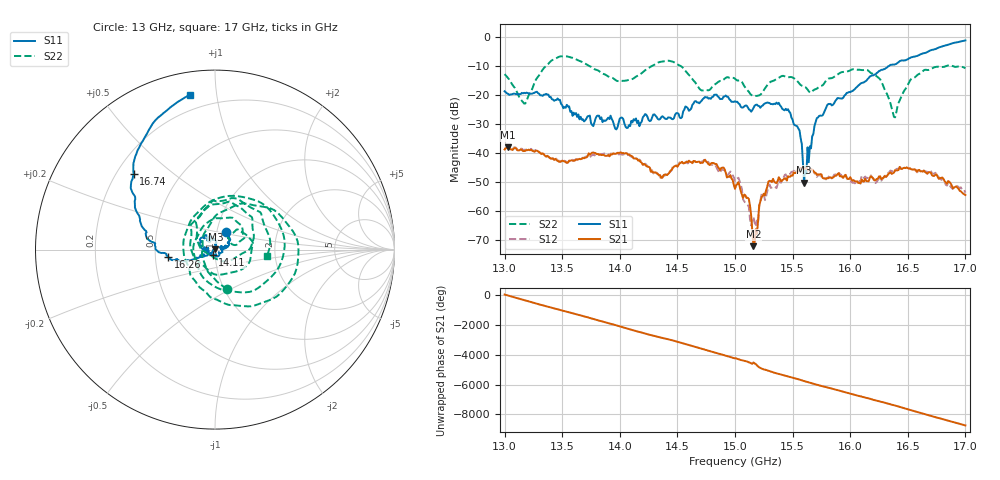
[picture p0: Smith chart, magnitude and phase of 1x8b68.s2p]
!Keysight Technologies,P9374A,MY57211807,A.19.30.04
!Date: Friday, May 08, 2026 14:30:50
!Correction: S11(C  2-Port  )
!S21(C  2-Port  )
!S12(C  2-Port  )
!S22(C  2-Port  )
!S2P File: Measurements: S11, S21, S12, S22:
# Hz S  dB  R 50
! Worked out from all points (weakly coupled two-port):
!   401 points, 13 GHz to 17 GHz, reference 50 ohm
!   highest |S21| = -37.97 dB at 13.03 GHz (marker M1); lowest = -72.1 dB at 15.16 GHz (marker M2)
!   lowest |S11| = -50.2 dB at 15.6 GHz (marker M3), VSWR 1.01, Z = 50.3 + j0.174 ohm
!   |S11| at or under -10 dB: start of sweep to 16.33 GHz
!   |S22| runs from -27.7 to -6.6 dB; largest |S21 - S12| = 0.0012
!   S11 on the Smith chart (normalised r, x): 13 GHz: 1.11, +0.22; 14.11 GHz: 0.97, -0.06; 16.26 GHz: 0.59, -0.05; 16.74 GHz: 0.27, +0.37; 17 GHz: 0.12, +0.84
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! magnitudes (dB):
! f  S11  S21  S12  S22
! 13 GHz  -18.7  -38.8  -38.6  -12.8
! 13.03 GHz  -19.6  -38.0  -37.7  -14.1
! 13.17 GHz  -19.2  -39.3  -38.8  -22.9
! 13.41 GHz  -21.4  -41.9  -42.0  -8.0
! 13.67 GHz  -28.5  -42.0  -41.8  -8.5
! 14.11 GHz  -29.4  -41.2  -41.4  -14.5
! 14.34 GHz  -28.5  -47.6  -47.7  -8.7
! 14.74 GHz  -20.7  -42.3  -42.3  -18.3
! 15 GHz  -22.1  -52.4  -49.7  -14.4
! 15.11 GHz  -24.1  -55.4  -57.9  -18.4
! 15.16 GHz  -24.5  -72.1  -62.0  -20.3
! 15.29 GHz  -22.7  -49.9  -51.7  -16.1
! 15.46 GHz  -24.9  -48.0  -47.5  -13.9
! 15.56 GHz  -32.2  -46.1  -45.9  -16.1
! 15.6 GHz  -50.2  -45.6  -45.5  -17.0
! 15.67 GHz  -34.3  -45.8  -46.0  -18.8
! 15.81 GHz  -23.1  -48.7  -48.4  -14.3
! 16.26 GHz  -11.6  -48.0  -48.6  -14.6
! 16.34 GHz  -9.9  -46.9  -46.6  -21.7
! 16.39 GHz  -9.4  -45.9  -45.7  -27.7
! 16.74 GHz  -4.2  -47.5  -46.8  -10.3
! 17 GHz  -1.2  -54.5  -53.7  -10.7
